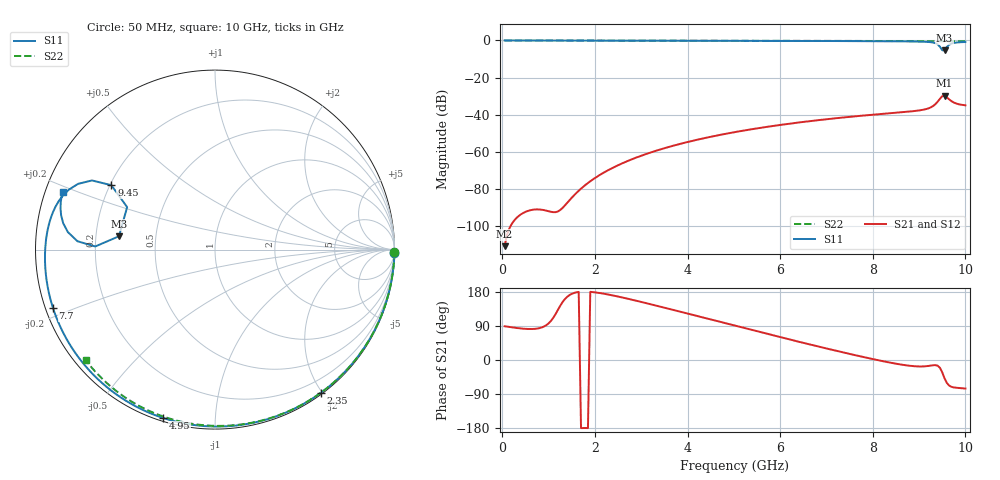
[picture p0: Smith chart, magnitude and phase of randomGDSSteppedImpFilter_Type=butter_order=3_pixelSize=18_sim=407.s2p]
! freq	dB(S11)	phase(S11)	dB(S12)	phase(S12)
!  dB(S21)	phase(S21)	dB(S22)	phase(S22)
!S-par simulation data
#  GHz  S  DB  R 50
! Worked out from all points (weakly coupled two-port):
!   200 points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, 50 MHz to 10 GHz, reference 50 ohm
!   highest |S21| = -29.84 dB at 9.55 GHz (marker M1); lowest = -111.0 dB at 50 MHz (marker M2)
!   lowest |S11| = -5.3 dB at 9.55 GHz (marker M3), VSWR 3.35, Z = 15 + j3.14 ohm
!   |S11| at or under -10 dB: nowhere
!   |S22| runs from -0.5 to 0.0 dB; largest |S21 - S12| = 0
!   S11 on the Smith chart (normalised r, x): 50 MHz: 0, -97; 2.35 GHz: 0.02, -1.98; 4.95 GHz: 0.01, -0.74; 7.7 GHz: 0.02, -0.17; 9.45 GHz: 0.21, +0.27; 10 GHz: 0.05, +0.18
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0.05  -0.00 -1.2  -110.99 89.1  -110.99 89.1  -0.00 -0.8
0.8  -0.02 -18.7  -91.19 84.0  -91.19 84.0  -0.02 -12.9
1.65  -0.05 -38.1  -81.08 179.7  -81.08 179.7  -0.03 -26.3
1.75  -0.05 -40.3  -78.88 -179.4  -78.88 -179.4  -0.04 -27.9
2.05  -0.06 -47.0  -73.43 177.8  -73.43 177.8  -0.04 -32.6
2.35  -0.07 -53.6  -69.16 171.3  -69.16 171.3  -0.05 -37.2
2.85  -0.08 -64.4  -63.60 157.7  -63.60 157.7  -0.06 -44.8
3.4  -0.10 -76.0  -58.89 141.1  -58.89 141.1  -0.07 -53.0
4.15  -0.13 -91.3  -53.90 117.8  -53.90 117.8  -0.09 -64.0
4.95  -0.16 -107.1  -49.78 92.8  -49.78 92.8  -0.11 -75.2
5.05  -0.17 -109.1  -49.32 89.6  -49.32 89.6  -0.12 -76.6
6.7  -0.27 -140.7  -43.36 39.3  -43.36 39.3  -0.19 -98.6
7.7  -0.36 -160.2  -40.74 10.5  -40.74 10.5  -0.25 -111.3
8.35  -0.44 -173.8  -39.31 -6.3  -39.31 -6.3  -0.31 -119.3
9.15  -0.73 164.8  -37.03 -16.5  -37.03 -16.5  -0.38 -129.1
9.35  -1.45 154.3  -34.42 -13.5  -34.42 -13.5  -0.40 -131.5
9.45  -3.35 148.1  -31.45 -20.5  -31.45 -20.5  -0.41 -132.7
9.5  -5.29 154.2  -30.08 -32.5  -30.08 -32.5  -0.42 -133.3
9.55  -5.35 172.1  -29.84 -48.3  -29.84 -48.3  -0.42 -133.9
9.6  -3.51 178.5  -30.69 -60.7  -30.69 -60.7  -0.42 -134.5
9.7  -1.66 173.2  -32.76 -70.8  -32.76 -70.8  -0.43 -135.7
10  -0.84 159.4  -34.98 -75.3  -34.98 -75.3  -0.47 -139.4
